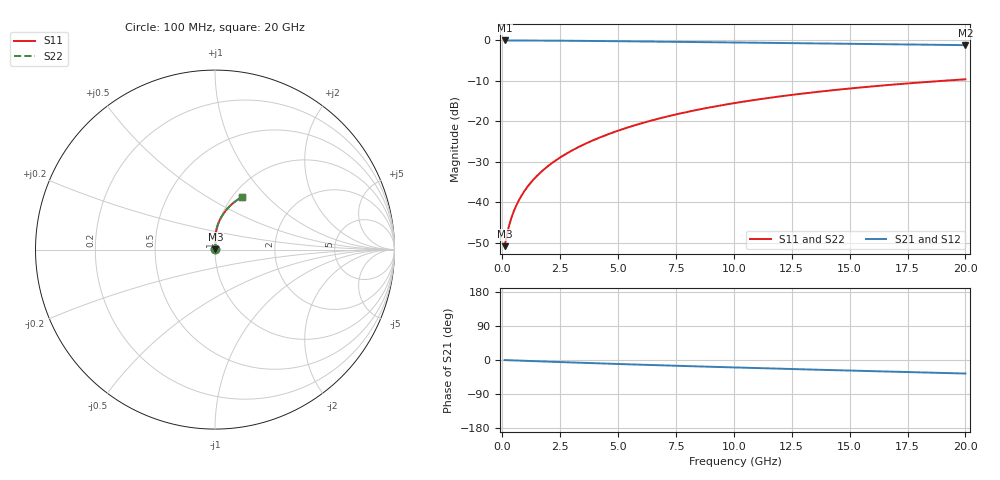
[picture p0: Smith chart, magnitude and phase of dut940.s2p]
! Touchstone file exported from HFSS 2024.1.0
!  File:  C:/UserFiles/LocalFiles/RDL_TSV_Batchsim/temp_RDL_bottom_940_1779941746.aedt
!  Generated:  12:18:10 PM May 28, 2026
!  Design:  RDL_bottom
!  Project:  temp_RDL_bottom_940_1779941746
!  Setup:  Setup1
!  Solution:  Sweep
! Variables:
!  dtsv = 10.80580581um
!  hbump = 3um
!  htsv = 51.5um
!  ldown = 495.07um
!  lrdl = 100um
!  p = 40
!  p1 = 55.08um
!  rhole = 1um
!  t = 450um
!  tdown = 3.16um
!  trdl = 3.915915916um
!  wdown = 26.04um
!  wrdl = 20um
# GHz S MA R 50.000000
! Terminal data exported
! Port[1] = RDL1_T1
! Port[2] = RDL1_T2
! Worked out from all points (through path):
!   200 points, 100 MHz to 20 GHz, reference 50 ohm
!   highest |S21| = -0.02 dB at 100 MHz (marker M1); lowest = -1.2 dB at 20 GHz (marker M2)
!   group delay of S21, straight-line fit = 4.89 ps
!   lowest |S11| = -50.9 dB at 100 MHz (marker M3), VSWR 1.01, Z = 50.2 + j0.158 ohm
!   |S11| at or under -10 dB: start of sweep to 19.02 GHz
!   |S22| runs from -50.9 to -9.6 dB; largest |S21 - S12| = 7.5e-15
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0.1  0.002859 33.3  0.9976 -0.2  0.9976 -0.2  0.002859 33.3
! Gamma 0 0 0 0
! Port Impedance 50 0 50 0
0.2  0.003968 50.8  0.9974 -0.5  0.9974 -0.5  0.003968 50.8
0.3  0.005216 59.7  0.9973 -0.7  0.9973 -0.7  0.005216 59.7
0.4  0.006486 65.1  0.9971 -0.9  0.9971 -0.9  0.006486 65.1
0.5  0.007762 68.9  0.9969 -1.1  0.9969 -1.1  0.007762 68.9
0.6  0.009048 71.8  0.9967 -1.3  0.9967 -1.3  0.009047 71.8
0.8  0.01166 75.9  0.9963 -1.8  0.9963 -1.8  0.01166 75.9
1.1  0.01567 79.8  0.9957 -2.4  0.9957 -2.4  0.01567 79.8
1.3  0.0184 81.6  0.9952 -2.9  0.9952 -2.9  0.0184 81.6
1.6  0.02258 83.6  0.9943 -3.5  0.9943 -3.5  0.02258 83.6
2.1  0.02976 85.8  0.9926 -4.6  0.9926 -4.6  0.02976 85.8
2.7  0.03874 87.3  0.99 -5.9  0.99 -5.9  0.03874 87.3
3.5  0.0513 88.3  0.9859 -7.5  0.9859 -7.5  0.0513 88.3
4.2  0.06283 88.5  0.9818 -8.9  0.9818 -8.9  0.06282 88.5
5  0.07651 88.2  0.9767 -10.5  0.9767 -10.5  0.0765 88.2
5.9  0.09242 87.4  0.9707 -12.2  0.9707 -12.2  0.09241 87.4
6.8  0.1087 86.2  0.9645 -13.9  0.9645 -13.9  0.1087 86.2
8.4  0.138 83.7  0.9533 -16.8  0.9533 -16.8  0.138 83.7
10.1  0.1691 80.6  0.9415 -19.8  0.9415 -19.8  0.1691 80.6
13.4  0.2273 74.4  0.9187 -25.3  0.9187 -25.3  0.2273 74.4
16.7  0.2813 68.3  0.896 -30.6  0.896 -30.6  0.2812 68.4
20  0.3302 62.7  0.8731 -35.7  0.8731 -35.7  0.3301 62.7
